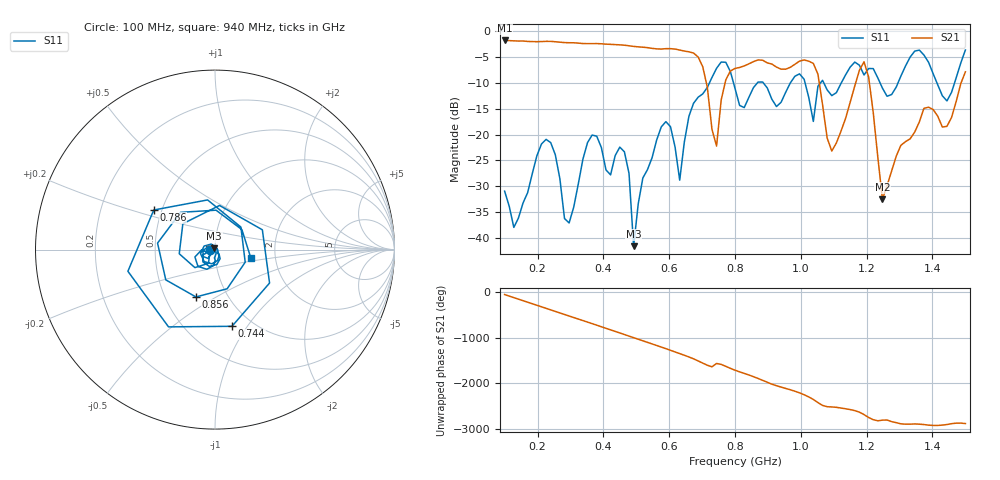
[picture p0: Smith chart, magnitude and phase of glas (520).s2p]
! NanoVNA-App
! Date: 2025-09-25 15:59:31
! Start: 100MHz Stop: 1,5GHz Points: 101
! S-Parameter data: F S11 S21 S12 S22
# Hz S RI R 50
!  Frequency  S11_Real  S11_Imag  S21_Real  S21_Imag  S12_Real  S12_Imag  S22_Real  S22_Imag
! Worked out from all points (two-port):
!   101 points, 100 MHz to 1.5 GHz, reference 50 ohm
!   highest |S21| = -1.80 dB at 100 MHz (marker M1); lowest = -32.5 dB at 1.248 GHz (marker M2)
!   |S21| within 3 dB of the highest: start of sweep to 684.3 MHz
!   lowest |S11| = -41.6 dB at 492 MHz (marker M3), VSWR 1.02, Z = 49.5 + j0.634 ohm
!   |S11| at or under -10 dB: start of sweep to 722.4 MHz; 795.4 MHz to 868 MHz (72.59 MHz wide, 8.73 % of centre); 886 MHz to 968.2 MHz (82.26 MHz wide, 8.87 % of centre) (the widest 3 of 7)
!   S12 and S22 are empty: the file has one direction only
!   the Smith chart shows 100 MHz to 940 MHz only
!   S11 on the Smith chart (normalised r, x): 100 MHz: 0.95, -0.01; 744 MHz: 0.81, -0.85; 786 MHz: 0.45, +0.24; 856 MHz: 0.71, -0.41; 940 MHz: 1.49, -0.15
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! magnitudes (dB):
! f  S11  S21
! 100 MHz  -30.9  -1.8
! 128 MHz  -37.9  -1.9
! 226 MHz  -20.9  -2.0
! 296 MHz  -37.1  -2.2
! 338 MHz  -24.7  -2.4
! 464 MHz  -23.3  -2.7
! 492 MHz  -41.6  -3.0
! 576 MHz  -18.5  -3.5
! 632 MHz  -28.8  -3.7
! 702 MHz  -12.1  -6.9
! 744 MHz  -7.2  -22.2
! 786 MHz  -7.8  -7.7
! 800 MHz  -11.1  -7.2
! 856 MHz  -10.9  -5.9
! 940 MHz  -13.8  -7.3
! 1.038 GHz  -17.5  -6.2
! 1.094 GHz  -12.5  -23.2
! 1.192 GHz  -8.5  -5.9
! 1.248 GHz  -11.0  -32.5
! 1.276 GHz  -12.3  -27.0
! 1.444 GHz  -13.5  -18.4
! 1.5 GHz  -3.6  -7.9
